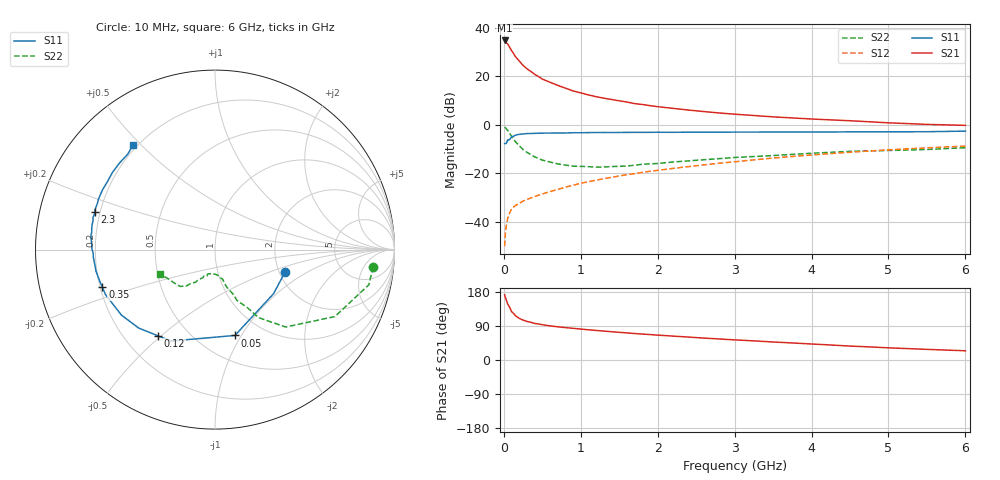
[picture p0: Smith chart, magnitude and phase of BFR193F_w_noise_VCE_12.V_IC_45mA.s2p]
! Infineon Technologies  Discrete & RF Semiconductors
! BFR193F
! VCE =  12. V,  IC =  45 mA
! Common Emitter S-Parameters:  Jan 2017
# GHz  S  MA  R  50
!  f  S11  S21  S12  S22
! GHz  MAG  ANG  MAG  ANG  MAG  ANG  MAG  ANG
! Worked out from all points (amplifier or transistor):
!   77 points, 10 MHz to 6 GHz, reference 50 ohm
!   highest |S21| = 34.9 dB at 10 MHz (marker M1)
!   |S21| within 3 dB of that: start of sweep to 78.24 MHz
!   unconditionally stable (mu >= 1): 877.6 MHz to 2.739 GHz
!   at 130 MHz: K = 0.42, MSG = 31.6 dB, |S12| = -33.9 dB
!   at 2.2 GHz: K = 1.03, MAG = 11.4 dB, |S12| = -18.0 dB
!   at 6 GHz: K = 0.83, MSG = 4.3 dB, |S12| = -8.8 dB
!   lowest NFmin = 1.41 dB at 450 MHz
!   S11 on the Smith chart (normalised r, x): 10 MHz: 2.16, -0.64; 50 MHz: 0.75, -0.94; 120 MHz: 0.34, -0.49; 350 MHz: 0.21, -0.16; 2.3 GHz: 0.18, +0.15; 6 GHz: 0.18, +0.47
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0.01  0.4102 -17.5  55.49 172.3  0.0031 57.8  0.8861 -6.3
0.02  0.4084 -37.0  52.84 165.1  0.0057 67.2  0.8793 -12.9
0.05  0.491 -76.9  46.99 147.5  0.0116 62.9  0.7649 -29.2
0.1  0.5651 -115.6  34.39 127.7  0.0183 52.8  0.5841 -47.6
0.12  0.5756 -123.3  30.83 124.1  0.0195 51.2  0.5286 -50.9
0.15  0.6097 -134.1  25.79 117.0  0.0214 49.2  0.4497 -57.4
0.2  0.6363 -145.0  20.88 110.0  0.0237 48.7  0.3691 -60.9
0.25  0.647 -152.9  16.93 105.2  0.0265 48.7  0.3091 -66.6
0.3  0.6598 -157.7  14.45 101.8  0.0286 50.0  0.2701 -67.7
0.35  0.6616 -161.5  12.75 99.5  0.0307 52.0  0.2436 -70.0
0.4  0.6663 -165.2  11.08 96.5  0.0328 53.7  0.2175 -72.8
0.5  0.6739 -169.7  8.83 93.2  0.0372 57.8  0.1863 -74.6
0.6  0.6748 -173.0  7.591 90.1  0.0416 60.2  0.1703 -75.6
0.9  0.6865 179.4  5.021 83.6  0.0563 66.4  0.1396 -87.1
1.1  0.6906 176.1  4.15 79.7  0.0667 68.6  0.1364 -92.4
1.7  0.6986 168.2  2.742 69.9  0.0981 71.8  0.1461 -107.0
2.1  0.7013 164.4  2.28 64.4  0.1201 73.1  0.1646 -113.0
2.3  0.7023 162.6  2.104 61.8  0.1312 73.1  0.1751 -114.7
3.1  0.7078 155.7  1.618 52.1  0.1787 72.6  0.2151 -121.8
4.1  0.7097 146.7  1.297 41.2  0.2448 69.7  0.2631 -129.3
5.1  0.718 136.7  1.084 31.3  0.3096 64.5  0.2974 -143.1
6  0.741 128.0  0.975 24.3  0.3628 59.1  0.3362 -156.4
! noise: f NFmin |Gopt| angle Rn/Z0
0.45  1.41  0.45  180  0.07
0.9  1.49  0.46  -179  0.07
1.9  2.06  0.59  -164  0.09
2.4  2.37  0.61  -156  0.14
